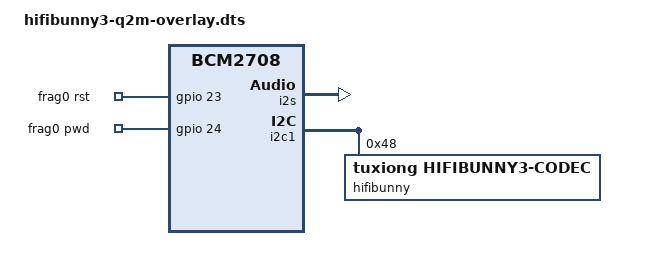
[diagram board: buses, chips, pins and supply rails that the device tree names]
// Definitions for hifibunny3 Q2M
/dts-v1/;
/plugin/;

/ {
	compatible = "brcm,bcm2708";

	fragment@1 {
		target = <&sound>;
		frag0: __overlay__ {
			compatible = "tuxiong,hifibunny3-q2m";
			i2s-controller = <&i2s>;
			rst-gpios = <&gpio 23 0>;
			pwd-gpios = <&gpio 24 0>;
			status = "okay";
		};
	};

	fragment@2 {
		target = <&i2s>;
		frag1:__overlay__ {
			status = "okay";
		};
	};

	fragment@3 {
		target = <&i2c1>;
		__overlay__ {
			#address-cells = <1>;
			#size-cells = <0>;
			status = "okay";
			hifibunny:hifibunny3-codec@48 {
				#sound-dai-cells = <0>;
				compatible = "tuxiong,hifibunny3-codec";
				reg = <0x48>;
				status = "okay";
			};
		};
	};
};
